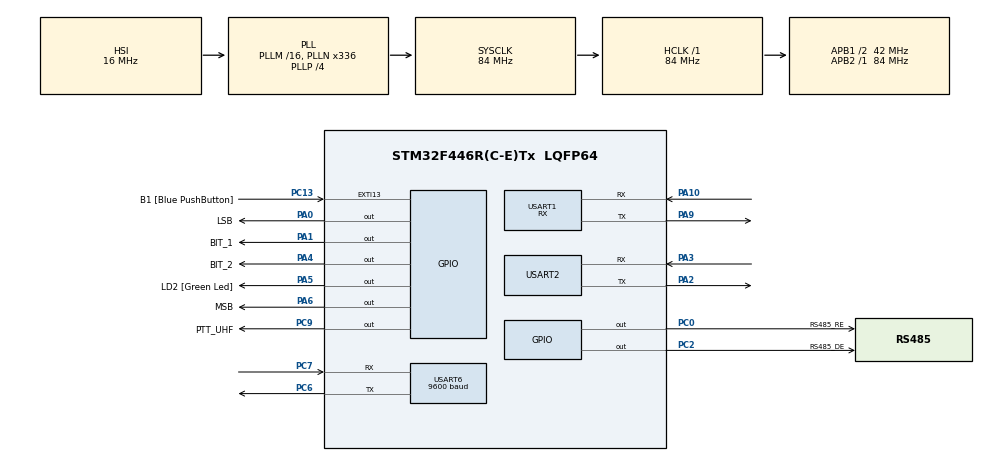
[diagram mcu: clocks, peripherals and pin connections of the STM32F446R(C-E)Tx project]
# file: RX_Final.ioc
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IWDG.Prescaler=IWDG_PRESCALER_64
Mcu.Family=STM32F4
Mcu.Name=STM32F446R(C-E)Tx
Mcu.Package=LQFP64
NVIC.PriorityGroup=NVIC_PRIORITYGROUP_0
NVIC.TIM3_IRQn=true\:0\:0\:false\:false\:true\:true\:true\:true
NVIC.USART1_IRQn=true\:0\:0\:false\:false\:true\:true\:true\:true
PA0-WKUP.GPIO_Label=LSB
PA0-WKUP.Signal=GPIO_Output
PA1.GPIO_Label=BIT_1
PA1.Signal=GPIO_Output
PA10.Mode=Asynchronous
PA10.Signal=USART1_RX
PA13.GPIO_Label=TMS
PA13.Mode=Serial_Wire
PA13.Signal=SYS_JTMS-SWDIO
PA14.GPIO_Label=TCK
PA14.Mode=Serial_Wire
PA14.Signal=SYS_JTCK-SWCLK
PA2.Mode=Asynchronous
PA2.Signal=USART2_TX
PA3.Mode=Asynchronous
PA3.Signal=USART2_RX
PA4.GPIO_Label=BIT_2
PA4.Signal=GPIO_Output
PA5.GPIO_Label=LD2 [Green Led]
PA5.Signal=GPIO_Output
PA6.GPIO_Label=MSB
PA6.Signal=GPIO_Output
PA9.Mode=Asynchronous
PA9.Signal=USART1_TX
PC0.GPIO_Label=RS485_RE
PC0.Signal=GPIO_Output
PC13.GPIO_Label=B1 [Blue PushButton]
PC13.GPIO_ModeDefaultEXTI=GPIO_MODE_IT_FALLING
PC13.Signal=GPXTI13
PC14-OSC32_IN.Mode=LSE-External-Oscillator
PC14-OSC32_IN.Signal=RCC_OSC32_IN
PC15-OSC32_OUT.Mode=LSE-External-Oscillator
PC15-OSC32_OUT.Signal=RCC_OSC32_OUT
PC2.GPIO_Label=RS485_DE
PC2.Signal=GPIO_Output
PC6.Mode=Asynchronous
PC6.Signal=USART6_TX
PC7.Mode=Asynchronous
PC7.Signal=USART6_RX
PC9.GPIO_Label=PTT_UHF
PC9.Signal=GPIO_Output
PH0-OSC_IN.Mode=HSE-External-Oscillator
PH0-OSC_IN.Signal=RCC_OSC_IN
PH1-OSC_OUT.Mode=HSE-External-Oscillator
PH1-OSC_OUT.Signal=RCC_OSC_OUT
ProjectManager.HeapSize=0x200
ProjectManager.StackSize=0x400
ProjectManager.TargetToolchain=STM32CubeIDE
RCC.48MHZClocksFreq_Value=84000000
RCC.AHBFreq_Value=84000000
RCC.APB1CLKDivider=RCC_HCLK_DIV2
RCC.APB1Freq_Value=42000000
RCC.APB1TimFreq_Value=84000000
RCC.APB2Freq_Value=84000000
RCC.APB2TimFreq_Value=84000000
RCC.CortexFreq_Value=84000000
RCC.FLatency-AdvancedSettings=FLASH_LATENCY_2
RCC.HCLKFreq_Value=84000000
RCC.HSE_VALUE=8000000
RCC.HSI_VALUE=16000000
RCC.PLLN=336
RCC.PLLP=RCC_PLLP_DIV4
RCC.SYSCLKFreq_VALUE=84000000
RCC.SYSCLKSource=RCC_SYSCLKSOURCE_PLLCLK
RCC.USBFreq_Value=168000000
RCC.VCOOutputFreq_Value=336000000
TIM3.AutoReloadPreload=TIM_AUTORELOAD_PRELOAD_ENABLE
TIM3.Period=103
TIM3.Prescaler=83
USART1.Mode=MODE_RX
USART1.VirtualMode=VM_ASYNC
USART2.VirtualMode=VM_ASYNC
USART6.BaudRate=9600
USART6.VirtualMode=VM_ASYNC
VP_IWDG_VS_IWDG.Mode=IWDG_Activate
VP_TIM3_VS_ClockSourceINT.Mode=Internal
board=NUCLEO-F446RE

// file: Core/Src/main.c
/* USER CODE BEGIN Header */
/**
  ******************************************************************************
  * @file           : main.c
  * @brief          : Main program body - APRS/AFSK Audio Tone Generator
  ******************************************************************************
  * @attention
  *
  * Copyright (c) 2025 STMicroelectronics.
  * All rights reserved.
  *
  ******************************************************************************
  */
/* USER CODE END Header */
#include "main.h"

/* USER CODE BEGIN Includes */
#include "afsk.h"
#include "ax25.h"
#include <string.h>
#include <stdint.h>

/* USER CODE END Includes */

/* USER CODE BEGIN PD */
#define CMD_TYPE_FREQ_CHANGE  0x01
#define CMD_TYPE_TELEMETRY    0x02

/* USER CODE END PD */

/* USER CODE BEGIN PM */
#define PKT_MAX_PAYLOAD     256
#define PKT_HEADER_SIZE     4
#define PKT_TOTAL_SIZE      260

/* USER CODE END PM */

TIM_HandleTypeDef htim3;

UART_HandleTypeDef huart1;
UART_HandleTypeDef huart2;
UART_HandleTypeDef huart6;

IWDG_HandleTypeDef hiwdg;

/* USER CODE BEGIN PV */
static const char SRC_CALL[]  = "VU3CDI";
static const uint8_t SRC_SSID = 5;
static const char DST_CALL[]  = "VU2CWN";
static const uint8_t DST_SSID = 0;
static const char PATH1_CALL[] = "WIDE";
static const uint8_t PATH1_SSID = 1;
static const char PATH2_CALL[] = "WIDE";
static const uint8_t PATH2_SSID = 2;

/* Frequency control */
#define FREQ_DEFAULT "435.2480"
#define FREQ_BACKUP  "435.2500"
static volatile uint8_t use_backup_freq = 0;

/* Packet structure */
typedef struct __attribute__((packed)) {
    uint8_t command_type;
    uint8_t payload_length;
    uint8_t padding[2];
    uint8_t payload[PKT_MAX_PAYLOAD];
} DataPacket_t;

/* Reception buffer - receives complete packet structure */
static DataPacket_t rxData;
static DataPacket_t processData;
static volatile uint8_t packet_ready = 0;

/* Statistics */
static uint32_t packets_valid = 0;
static uint32_t packets_rejected = 0;
static uint32_t uart_errors = 0;

/* Buffers - Reduced size for memory optimization */
#define AX25_BUF_SIZE 512  // Reduced from 4096
static uint8_t ax25_buffer[AX25_BUF_SIZE];
static uint16_t ax25_len = 0;

/* DAC pin masks for 4-bit R-2R ladder DAC */
static uint32_t dac_set_masks[16];
static uint32_t dac_reset_masks[16];

/* USER CODE END PV */

void SystemClock_Config(void);
static void MX_GPIO_Init(void);
static void MX_USART2_UART_Init(void);
static void MX_USART1_UART_Init(void);
static void MX_USART6_UART_Init(void);
static void MX_TIM3_Init(void);
static void MX_IWDG_Init(void);
/* USER CODE BEGIN PFP */
static void DRA_Send(const char *s);
static void DRA_Init(void);
static void ProcessCommand(DataPacket_t *pkt);
static void TransmitTelemetry(const char *payload_text);
static inline int IsValidPacket(DataPacket_t *packet);
extern uint8_t afsk_isBusy(void);
/* USER CODE END PFP */

/* USER CODE BEGIN 0 */

/**
 * @brief APRS/AFSK Audio Tone Generation Overview
 *
 * This code implements Bell 202 AFSK (Audio Frequency Shift Keying) for APRS:
 * - Mark (1):  1200 Hz
 * - Space (0): 2200 Hz
 * - Baud rate: 1200 baud
 *
 * Signal Flow:
 * 1. AX.25 frame encoding (ax25_encode) - Creates proper APRS packet
 * 2. AFSK generation (afsk_generate) - Converts bits to audio samples
 * 3. Timer interrupt (afsk_timer_tick) - Outputs samples at 9600 Hz via DAC
 * 4. DAC output (DAC_Write4) - 4-bit R-2R ladder creates analog audio
 * 5. Audio feeds DRA818U microphone input
 *
 * Timer3 Configuration for 9600 Hz:
 * - System clock: 84 MHz (APB1)
 * - Prescaler: 83 (84MHz / 84 = 1 MHz)
 * - Period: 103 (1MHz / 104 ≈ 9615 Hz ≈ 9600 Hz)
 *
 * At 9600 Hz sample rate:
 * - 1200 Hz tone = 8 samples per cycle (9600/1200)
 * - 2200 Hz tone = 4.36 samples per cycle (9600/2200)
 */

/* Check if payload contains printable ASCII */
static uint8_t IsValidPayload(const uint8_t *payload, uint8_t len)
{
    if (len == 0 || len > 256) return 0;

    for (uint8_t i = 0; i < len; i++) {
        if ((payload[i] >= 32 && payload[i] <= 126) ||
            payload[i] == '\r' || payload[i] == '\n' || payload[i] == '\t') {
            continue;
        }
        return 0;
    }
    return 1;
}

/* Validation function - CHECK COMMAND TYPE FIRST */
static inline int IsValidPacket(DataPacket_t *packet)
{
    if (packet->command_type < CMD_TYPE_FREQ_CHANGE ||
        packet->command_type > CMD_TYPE_TELEMETRY) {
        return 0;
    }

    if (packet->payload_length == 0 || packet->payload_length > 256) {
        return 0;
    }

    if (!IsValidPayload(packet->payload, packet->payload_length)) {
        return 0;
    }

    return 1;
}

/**
 * @brief Write 4-bit value to R-2R DAC
 * @param v: 4-bit value (0-15)
 *
 * DAC Pin Assignment:
 * - LSB (bit 0): PA4
 * - BIT_1 (bit 1): PA6
 * - BIT_2 (bit 2): PA7
 * - MSB (bit 3): PA0
 *
 * Uses precomputed masks for fast GPIO writes via BSRR register
 */
void DAC_Write4(uint8_t v)
{
    GPIOA->BSRR = dac_set_masks[v & 0x0F] | dac_reset_masks[v & 0x0F];
}

/**
 * @brief Precompute GPIO masks for all 16 DAC values
 *
 * BSRR register layout:
 * - Lower 16 bits: Set pins (write 1)
 * - Upper 16 bits: Reset pins (write 1)
 *
 * This optimization allows single-cycle GPIO writes
 */
void DAC_PrecomputeMasks(void)
{
    for (uint8_t v = 0; v < 16; v++) {
        uint32_t set_mask = 0;
        uint32_t reset_mask = 0;
        if (v & 0x01) set_mask |= LSB_Pin; else reset_mask |= (LSB_Pin << 16);
        if (v & 0x02) set_mask |= BIT_1_Pin; else reset_mask |= (BIT_1_Pin << 16);
        if (v & 0x04) set_mask |= BIT_2_Pin; else reset_mask |= (BIT_2_Pin << 16);
        if (v & 0x08) set_mask |= MSB_Pin; else reset_mask |= (MSB_Pin << 16);
        dac_set_masks[v] = set_mask;
        dac_reset_masks[v] = reset_mask;
    }
}

/**
 * @brief Timer3 interrupt callback - AFSK audio sample output
 *
 * Called at 9600 Hz to generate AFSK audio tones:
 * - afsk_timer_tick() fetches next audio sample
 * - Sample output via DAC_Write4()
 * - Creates 1200 Hz (mark) and 2200 Hz (space) tones
 *
 * At 9600 Hz sample rate:
 * - 1200 Hz: 8 samples per cycle
 * - 2200 Hz: ~4.36 samples per cycle
 */
void HAL_TIM_PeriodElapsedCallback(TIM_HandleTypeDef *htim)
{
    if (htim->Instance == TIM3) {
        afsk_timer_tick();
    }
}

/* UART Receive Complete Callback - Receives COMPLETE PACKET */
void HAL_UART_RxCpltCallback(UART_HandleTypeDef *huart)
{
    if (huart->Instance == USART1)
    {
        if (IsValidPacket(&rxData)) {
            packets_valid++;
            memcpy(&processData, &rxData, sizeof(DataPacket_t));
            packet_ready = 1;
            HAL_GPIO_TogglePin(LD2_GPIO_Port, LD2_Pin);
        } else {
            packets_rejected++;
        }

        HAL_UART_Receive_IT(&huart1, (uint8_t*)&rxData, sizeof(DataPacket_t));
    }
}

void HAL_UART_ErrorCallback(UART_HandleTypeDef *huart)
{
    if (huart->Instance == USART1)
    {
        __HAL_UART_CLEAR_OREFLAG(huart);
        __HAL_UART_CLEAR_NEFLAG(huart);
        __HAL_UART_CLEAR_FEFLAG(huart);
        __HAL_UART_CLEAR_PEFLAG(huart);

        uart_errors++;

        HAL_UART_Receive_IT(&huart1, (uint8_t*)&rxData, sizeof(DataPacket_t));
    }
}

/* Command Processing */
static void ProcessCommand(DataPacket_t *packet_cmd)
{
    HAL_IWDG_Refresh(&hiwdg);

    if (!IsValidPacket(packet_cmd)) {
        return;
    }

    if (packet_cmd->payload_length < PKT_MAX_PAYLOAD) {
        packet_cmd->payload[packet_cmd->payload_length] = '\0';
    } else {
        packet_cmd->payload[PKT_MAX_PAYLOAD - 1] = '\0';
    }

    switch (packet_cmd->command_type)
    {
        case CMD_TYPE_FREQ_CHANGE:
            TransmitTelemetry((char*)packet_cmd->payload);
            break;

        case CMD_TYPE_TELEMETRY:
            TransmitTelemetry((char*)packet_cmd->payload);
            break;

        default:
            break;
    }
}

/**
 * @brief Transmit APRS packet via AFSK
 *
 * APRS Packet Structure:
 * 1. Flag (0x7E) - Packet delimiter
 * 2. Destination Address (7 bytes) - VU2CWN-0
 * 3. Source Address (7 bytes) - VU3CDI-5
 * 4. Path (14 bytes) - WIDE1-1,WIDE2-1
 * 5. Control (0x03), PID (0xF0)
 * 6. Information Field - ">Hello World Somaiya OrbitRadio 73"
 * 7. FCS (2 bytes) - Frame Check Sequence (CRC)
 * 8. Flag (0x7E)
 *
 * The ax25_encode() function creates this properly formatted AX.25 frame
 * The afsk_generate() converts it to audio samples at 9600 Hz
 * Timer3 ISR outputs samples at 9600 Hz via DAC
 */
static void TransmitTelemetry(const char *payload_text)
{
    char temp[128];  // Reduced from 300
    uint8_t len = 0;

    // Manual string concatenation to save stack
    temp[len++] = '>';
    while (*payload_text && len < 100) {
        temp[len++] = *payload_text++;
    }
    const char *suffix = " | SVV-KJSIT, NEW LEAP LABS, Somaiya OrbitRadio 73";
    while (*suffix && len < 127) {
        temp[len++] = *suffix++;
    }
    temp[len] = '\0';

    HAL_IWDG_Refresh(&hiwdg);

    memset(ax25_buffer, 0, AX25_BUF_SIZE);
    ax25_len = 0;

    ax25_encode(ax25_buffer, &ax25_len,
                SRC_CALL, SRC_SSID,
                DST_CALL, DST_SSID,
                PATH1_CALL, PATH1_SSID,
                PATH2_CALL, PATH2_SSID,
                temp);

    if (ax25_len == 0) {
        return;
    }

    HAL_Delay(200);
    HAL_IWDG_Refresh(&hiwdg);

    afsk_generate(ax25_buffer, ax25_len);

    HAL_GPIO_WritePin(PTT_UHF_GPIO_Port, PTT_UHF_Pin, GPIO_PIN_SET);
    HAL_Delay(1000);
    HAL_IWDG_Refresh(&hiwdg);

    afsk_start();

    uint32_t start = HAL_GetTick();
    while (afsk_isBusy() && (HAL_GetTick() - start) < 20000) {
        HAL_Delay(10);
        HAL_IWDG_Refresh(&hiwdg);
    }

    HAL_Delay(200);
    afsk_stop();

    HAL_GPIO_WritePin(PTT_UHF_GPIO_Port, PTT_UHF_Pin, GPIO_PIN_RESET);
    HAL_Delay(100);
}

void DRA_Send(const char *s)
{
    HAL_UART_Transmit(&huart6, (uint8_t*)s, strlen(s), HAL_MAX_DELAY);
    HAL_UART_Transmit(&huart6, (uint8_t*)"\r\n", 2, HAL_MAX_DELAY);
}

void DRA_Init(void)
{
    const char *freq = use_backup_freq ? FREQ_BACKUP : FREQ_DEFAULT;
    HAL_Delay(500);
    DRA_Send("AT+DMOCONNECT");
    HAL_Delay(300);

    char cmd[64];  // Reduced from 100
    uint8_t idx = 0;
    const char *prefix = "AT+DMOSETGROUP=0,";
    while (*prefix) cmd[idx++] = *prefix++;
    const char *f = freq;
    while (*f) cmd[idx++] = *f++;
    cmd[idx++] = ',';
    f = freq;
    while (*f) cmd[idx++] = *f++;
    const char *suffix = ",0000,0,0000";
    while (*suffix) cmd[idx++] = *suffix++;
    cmd[idx] = '\0';

    DRA_Send(cmd);
    HAL_Delay(300);
    DRA_Send("AT+DMOSETVOLUME=6");
    HAL_Delay(200);
}

/* USER CODE END 0 */

int main(void)
{

  /* MCU Configuration--------------------------------------------------------*/

  /* Reset of all peripherals, Initializes the Flash interface and the Systick. */
  HAL_Init();

  /* Configure the system clock */
  SystemClock_Config();

  /* Initialize all configured peripherals */
  MX_GPIO_Init();
  MX_USART2_UART_Init();
  MX_USART1_UART_Init();
  MX_USART6_UART_Init();
  MX_TIM3_Init();
  MX_IWDG_Init();
  /* USER CODE BEGIN 2 */
  DAC_PrecomputeMasks();
  HAL_Delay(100);

  afsk_Init();

  DRA_Init();

  memset(&rxData, 0, sizeof(DataPacket_t));
  memset(&processData, 0, sizeof(DataPacket_t));
  packet_ready = 0;

  HAL_UART_Receive_IT(&huart1, (uint8_t*)&rxData, sizeof(DataPacket_t));

  uint32_t last_status = HAL_GetTick();

  /* USER CODE END 2 */

  /* Infinite loop */
  /* USER CODE BEGIN WHILE */
  while (1)
  {
    HAL_IWDG_Refresh(&hiwdg);

    if (packet_ready)
    {
        packet_ready = 0;
        ProcessCommand(&processData);
    }

    uint32_t now = HAL_GetTick();

    if ((now - last_status) >= 10000) {
        last_status = now;
    }

    HAL_Delay(10);
    /* USER CODE END WHILE */

  }
}

void SystemClock_Config(void)
{
  RCC_OscInitTypeDef RCC_OscInitStruct = {0};
  RCC_ClkInitTypeDef RCC_ClkInitStruct = {0};

  /** Configure the main internal regulator output voltage
  */
  __HAL_RCC_PWR_CLK_ENABLE();
  __HAL_PWR_VOLTAGESCALING_CONFIG(PWR_REGULATOR_VOLTAGE_SCALE3);

  /** Initializes the RCC Oscillators according to the specified parameters
  * in the RCC_OscInitTypeDef structure.
  */
  RCC_OscInitStruct.OscillatorType = RCC_OSCILLATORTYPE_HSI;
  RCC_OscInitStruct.HSIState = RCC_HSI_ON;
  RCC_OscInitStruct.HSICalibrationValue = RCC_HSICALIBRATION_DEFAULT;
  RCC_OscInitStruct.PLL.PLLState = RCC_PLL_ON;
  RCC_OscInitStruct.PLL.PLLSource = RCC_PLLSOURCE_HSI;
  RCC_OscInitStruct.PLL.PLLM = 16;
  RCC_OscInitStruct.PLL.PLLN = 336;
  RCC_OscInitStruct.PLL.PLLP = RCC_PLLP_DIV4;
  RCC_OscInitStruct.PLL.PLLQ = 2;
  RCC_OscInitStruct.PLL.PLLR = 2;
  if (HAL_RCC_OscConfig(&RCC_OscInitStruct) != HAL_OK)
  {
    Error_Handler();
  }

  /** Initializes the CPU, AHB and APB buses clocks
  */
  RCC_ClkInitStruct.ClockType = RCC_CLOCKTYPE_HCLK|RCC_CLOCKTYPE_SYSCLK
                              |RCC_CLOCKTYPE_PCLK1|RCC_CLOCKTYPE_PCLK2;
  RCC_ClkInitStruct.SYSCLKSource = RCC_SYSCLKSOURCE_PLLCLK;
  RCC_ClkInitStruct.AHBCLKDivider = RCC_SYSCLK_DIV1;
  RCC_ClkInitStruct.APB1CLKDivider = RCC_HCLK_DIV2;
  RCC_ClkInitStruct.APB2CLKDivider = RCC_HCLK_DIV1;

  if (HAL_RCC_ClockConfig(&RCC_ClkInitStruct, FLASH_LATENCY_2) != HAL_OK)
  {
    Error_Handler();
  }
}

static void MX_IWDG_Init(void)
{

  hiwdg.Instance = IWDG;
  hiwdg.Init.Prescaler = IWDG_PRESCALER_64;
  hiwdg.Init.Reload = 4095;
  if (HAL_IWDG_Init(&hiwdg) != HAL_OK)
  {
    Error_Handler();
  }

}

static void MX_TIM3_Init(void)
{

  TIM_ClockConfigTypeDef sClockSourceConfig = {0};
  TIM_MasterConfigTypeDef sMasterConfig = {0};

  htim3.Instance = TIM3;
  htim3.Init.Prescaler = 83;
  htim3.Init.CounterMode = TIM_COUNTERMODE_UP;
  htim3.Init.Period = 103;
  htim3.Init.ClockDivision = TIM_CLOCKDIVISION_DIV1;
  htim3.Init.AutoReloadPreload = TIM_AUTORELOAD_PRELOAD_ENABLE;
  if (HAL_TIM_Base_Init(&htim3) != HAL_OK)
  {
    Error_Handler();
  }
  sClockSourceConfig.ClockSource = TIM_CLOCKSOURCE_INTERNAL;
  if (HAL_TIM_ConfigClockSource(&htim3, &sClockSourceConfig) != HAL_OK)
  {
    Error_Handler();
  }
  sMasterConfig.MasterOutputTrigger = TIM_TRGO_RESET;
  sMasterConfig.MasterSlaveMode = TIM_MASTERSLAVEMODE_DISABLE;
  if (HAL_TIMEx_MasterConfigSynchronization(&htim3, &sMasterConfig) != HAL_OK)
  {
    Error_Handler();
  }
  /* USER CODE BEGIN TIM3_Init 2 */
  HAL_TIM_Base_Start_IT(&htim3);
  /* USER CODE END TIM3_Init 2 */

}

static void MX_USART1_UART_Init(void)
{

  huart1.Instance = USART1;
  huart1.Init.BaudRate = 115200;
  huart1.Init.WordLength = UART_WORDLENGTH_8B;
  huart1.Init.StopBits = UART_STOPBITS_1;
  huart1.Init.Parity = UART_PARITY_NONE;
  huart1.Init.Mode = UART_MODE_RX;
  huart1.Init.HwFlowCtl = UART_HWCONTROL_NONE;
  huart1.Init.OverSampling = UART_OVERSAMPLING_16;
  if (HAL_UART_Init(&huart1) != HAL_OK)
  {
    Error_Handler();
  }
  /* USER CODE BEGIN USART1_Init 2 */
  HAL_NVIC_SetPriority(USART1_IRQn, 5, 0);
  HAL_NVIC_EnableIRQ(USART1_IRQn);
  /* USER CODE END USART1_Init 2 */

}

static void MX_USART2_UART_Init(void)
{

  huart2.Instance = USART2;
  huart2.Init.BaudRate = 115200;
  huart2.Init.WordLength = UART_WORDLENGTH_8B;
  huart2.Init.StopBits = UART_STOPBITS_1;
  huart2.Init.Parity = UART_PARITY_NONE;
  huart2.Init.Mode = UART_MODE_TX_RX;
  huart2.Init.HwFlowCtl = UART_HWCONTROL_NONE;
  huart2.Init.OverSampling = UART_OVERSAMPLING_16;
  if (HAL_UART_Init(&huart2) != HAL_OK)
  {
    Error_Handler();
  }

}

static void MX_USART6_UART_Init(void)
{

  huart6.Instance = USART6;
  huart6.Init.BaudRate = 9600;
  huart6.Init.WordLength = UART_WORDLENGTH_8B;
  huart6.Init.StopBits = UART_STOPBITS_1;
  huart6.Init.Parity = UART_PARITY_NONE;
  huart6.Init.Mode = UART_MODE_TX_RX;
  huart6.Init.HwFlowCtl = UART_HWCONTROL_NONE;
  huart6.Init.OverSampling = UART_OVERSAMPLING_16;
  if (HAL_UART_Init(&huart6) != HAL_OK)
  {
    Error_Handler();
  }

}

static void MX_GPIO_Init(void)
{
  GPIO_InitTypeDef GPIO_InitStruct = {0};

  /* GPIO Ports Clock Enable */
  __HAL_RCC_GPIOC_CLK_ENABLE();
  __HAL_RCC_GPIOH_CLK_ENABLE();
  __HAL_RCC_GPIOA_CLK_ENABLE();

  /*Configure GPIO pin Output Level */
  HAL_GPIO_WritePin(GPIOC, RS485_RE_Pin|RS485_DE_Pin|PTT_UHF_Pin, GPIO_PIN_RESET);

  /*Configure GPIO pin Output Level */
  HAL_GPIO_WritePin(GPIOA, BIT_1_Pin|BIT_2_Pin|LD2_Pin|MSB_Pin
                          |LSB_Pin, GPIO_PIN_RESET);

  /*Configure GPIO pin : B1_Pin */
  GPIO_InitStruct.Pin = B1_Pin;
  GPIO_InitStruct.Mode = GPIO_MODE_IT_FALLING;
  GPIO_InitStruct.Pull = GPIO_NOPULL;
  HAL_GPIO_Init(B1_GPIO_Port, &GPIO_InitStruct);

  /*Configure GPIO pins : RS485_RE_Pin RS485_DE_Pin PTT_UHF_Pin */
  GPIO_InitStruct.Pin = RS485_RE_Pin|RS485_DE_Pin|PTT_UHF_Pin;
  GPIO_InitStruct.Mode = GPIO_MODE_OUTPUT_PP;
  GPIO_InitStruct.Pull = GPIO_NOPULL;
  GPIO_InitStruct.Speed = GPIO_SPEED_FREQ_LOW;
  HAL_GPIO_Init(GPIOC, &GPIO_InitStruct);

  /*Configure GPIO pins : BIT_1_Pin BIT_2_Pin LD2_Pin MSB_Pin LSB_Pin */
  GPIO_InitStruct.Pin = BIT_1_Pin|BIT_2_Pin|LD2_Pin|MSB_Pin|LSB_Pin;
  GPIO_InitStruct.Mode = GPIO_MODE_OUTPUT_PP;
  GPIO_InitStruct.Pull = GPIO_NOPULL;
  GPIO_InitStruct.Speed = GPIO_SPEED_FREQ_LOW;
  HAL_GPIO_Init(GPIOA, &GPIO_InitStruct);

}

void Error_Handler(void)
{
  __disable_irq();
  while (1)
  {
  }
}
